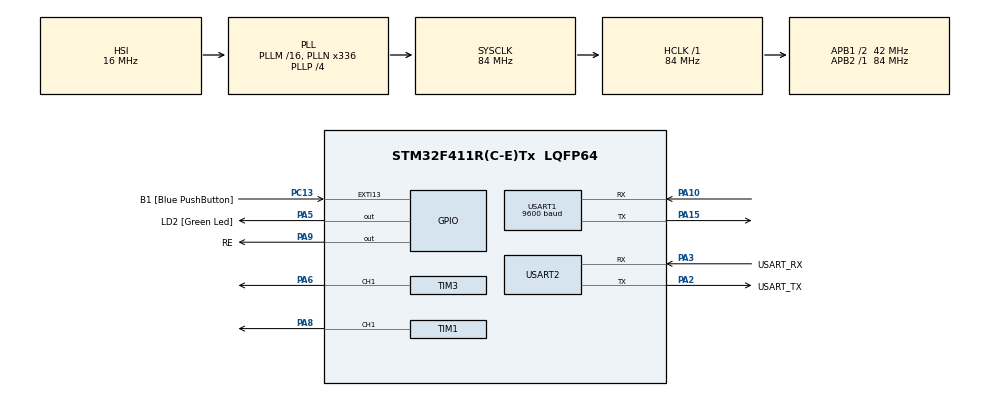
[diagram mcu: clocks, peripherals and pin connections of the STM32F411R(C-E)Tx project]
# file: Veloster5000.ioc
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Mcu.Family=STM32F4
Mcu.Name=STM32F411R(C-E)Tx
Mcu.Package=LQFP64
NVIC.EXTI15_10_IRQn=true\:1\:0\:true\:false\:true\:true\:true
NVIC.PriorityGroup=NVIC_PRIORITYGROUP_2
NVIC.TIM1_UP_TIM10_IRQn=true\:2\:0\:true\:false\:true\:true\:true
NVIC.TIM3_IRQn=true\:2\:0\:true\:false\:true\:true\:true
NVIC.USART1_IRQn=true\:1\:0\:true\:false\:true\:true\:true
PA10.Mode=Asynchronous
PA10.Signal=USART1_RX
PA13.GPIO_Label=TMS
PA13.Mode=Serial_Wire
PA13.Signal=SYS_JTMS-SWDIO
PA14.GPIO_Label=TCK
PA14.Mode=Serial_Wire
PA14.Signal=SYS_JTCK-SWCLK
PA15.Mode=Asynchronous
PA15.Signal=USART1_TX
PA2.GPIO_Label=USART_TX
PA2.Mode=Asynchronous
PA2.Signal=USART2_TX
PA3.GPIO_Label=USART_RX
PA3.Mode=Asynchronous
PA3.Signal=USART2_RX
PA5.GPIO_Label=LD2 [Green Led]
PA5.Signal=GPIO_Output
PA6.Signal=S_TIM3_CH1
PA8.Signal=S_TIM1_CH1
PA9.GPIO_Label=RE
PA9.Signal=GPIO_Output
PB3.GPIO_Label=SWO
PB3.Signal=SYS_JTDO-SWO
PC13-ANTI_TAMP.GPIO_Label=B1 [Blue PushButton]
PC13-ANTI_TAMP.GPIO_ModeDefaultEXTI=GPIO_MODE_IT_FALLING
PC13-ANTI_TAMP.Signal=GPXTI13
PC14-OSC32_IN.Mode=LSE-External-Oscillator
PC14-OSC32_IN.Signal=RCC_OSC32_IN
PC15-OSC32_OUT.Mode=LSE-External-Oscillator
PC15-OSC32_OUT.Signal=RCC_OSC32_OUT
PH0\ -\ OSC_IN.Mode=HSE-External-Clock-Source
PH0\ -\ OSC_IN.Signal=RCC_OSC_IN
PH1\ -\ OSC_OUT.Mode=HSE-External-Clock-Source
PH1\ -\ OSC_OUT.Signal=RCC_OSC_OUT
ProjectManager.HeapSize=0x200
ProjectManager.StackSize=0x400
ProjectManager.TargetToolchain=STM32CubeIDE
RCC.48MHZClocksFreq_Value=84000000
RCC.AHBFreq_Value=84000000
RCC.APB1CLKDivider=RCC_HCLK_DIV2
RCC.APB1Freq_Value=42000000
RCC.APB1TimFreq_Value=84000000
RCC.APB2Freq_Value=84000000
RCC.APB2TimFreq_Value=84000000
RCC.CortexFreq_Value=84000000
RCC.FLatency-AdvancedSettings=FLASH_LATENCY_2
RCC.HCLKFreq_Value=84000000
RCC.HSE_VALUE=8000000
RCC.HSI_VALUE=16000000
RCC.PLLN=336
RCC.PLLP=RCC_PLLP_DIV4
RCC.SYSCLKFreq_VALUE=84000000
RCC.SYSCLKSource=RCC_SYSCLKSOURCE_PLLCLK
RCC.VCOOutputFreq_Value=336000000
SH.S_TIM1_CH1.0=TIM1_CH1,PWM Generation1 CH1
SH.S_TIM3_CH1.0=TIM3_CH1,PWM Generation1 CH1
TIM1.Channel-PWM\ Generation1\ CH1=TIM_CHANNEL_1
TIM1.Period=99
TIM1.Prescaler=839
TIM3.Channel-PWM\ Generation1\ CH1=TIM_CHANNEL_1
TIM3.Period=1679
TIM3.Prescaler=999
USART1.BaudRate=9600
USART1.VirtualMode=VM_ASYNC
USART2.VirtualMode=VM_ASYNC
VP_TIM1_VS_ClockSourceINT.Mode=Internal
VP_TIM3_VS_ClockSourceINT.Mode=Internal
board=NUCLEO-F411RE

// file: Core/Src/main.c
/* USER CODE BEGIN Header */
/**
  ******************************************************************************
  * @file           : main.c
  * @brief          : Main program body
  ******************************************************************************
  * @attention
  *
  * <h2><center>&copy; Copyright (c) 2021 STMicroelectronics.
  * All rights reserved.</center></h2>
  *
  * This software component is licensed by ST under BSD 3-Clause license,
  * the "License"; You may not use this file except in compliance with the
  * License. You may obtain a copy of the License at:
  *                        opensource.org/licenses/BSD-3-Clause
  *
  ******************************************************************************
  */
/* USER CODE END Header */
#include "main.h"

TIM_HandleTypeDef htim1;
TIM_HandleTypeDef htim3;

UART_HandleTypeDef huart1;
UART_HandleTypeDef huart2;

void SystemClock_Config(void);
static void MX_GPIO_Init(void);
static void MX_USART2_UART_Init(void);
static void MX_TIM1_Init(void);
static void MX_USART1_UART_Init(void);
static void MX_TIM3_Init(void);

/* USER CODE BEGIN 0 */
	uint8_t directionGear[2] = {};
//	static int VELOCIDADE_DEFAULT = 50;
	int frente = 0, tras = 0;
	int velocidade = 100;
	int xesque = 0;
	int lock = 0;

	int ciclo1[3] = {84, 126, 168};
	int ciclo = 0;
	int i = 0;
/* USER CODE END 0 */

int main(void)
{

  /* MCU Configuration--------------------------------------------------------*/

  /* Reset of all peripherals, Initializes the Flash interface and the Systick. */
  HAL_Init();

  /* Configure the system clock */
  SystemClock_Config();

  /* Initialize all configured peripherals */
  MX_GPIO_Init();
  MX_USART2_UART_Init();
  MX_TIM1_Init();
  MX_USART1_UART_Init();
  MX_TIM3_Init();
  /* USER CODE BEGIN 2 */

  HAL_TIM_Base_Start_IT(&htim1);
  HAL_TIM_Base_Start_IT(&htim3);
  HAL_UART_Receive_IT(&huart1, directionGear, 2);

  /* USER CODE END 2 */

  /* Infinite loop */
  while (1){

    /* USER CODE BEGIN 3 */
//	  ciclo = 320;
	   if(lock == 1){

 		  HAL_TIM_PWM_Start_IT(&htim1, TIM_CHANNEL_1);
 		  HAL_GPIO_WritePin(RE_GPIO_Port, RE_Pin, 0);

 		  frente++;
 		  if(frente > velocidade){
 	  		  frente--;
 	  	  }

 	  }else if(lock == -1){
 		  frente = 0;

 	  }else if(lock == 0 && xesque == 1){
 		  HAL_Delay(800);
 		  xesque = 0;
 	  }

  }
  /* USER CODE END 3 */
}

void SystemClock_Config(void)
{
  RCC_OscInitTypeDef RCC_OscInitStruct = {0};
  RCC_ClkInitTypeDef RCC_ClkInitStruct = {0};

  /** Configure the main internal regulator output voltage
  */
  __HAL_RCC_PWR_CLK_ENABLE();
  __HAL_PWR_VOLTAGESCALING_CONFIG(PWR_REGULATOR_VOLTAGE_SCALE1);
  /** Initializes the RCC Oscillators according to the specified parameters
  * in the RCC_OscInitTypeDef structure.
  */
  RCC_OscInitStruct.OscillatorType = RCC_OSCILLATORTYPE_HSI;
  RCC_OscInitStruct.HSIState = RCC_HSI_ON;
  RCC_OscInitStruct.HSICalibrationValue = RCC_HSICALIBRATION_DEFAULT;
  RCC_OscInitStruct.PLL.PLLState = RCC_PLL_ON;
  RCC_OscInitStruct.PLL.PLLSource = RCC_PLLSOURCE_HSI;
  RCC_OscInitStruct.PLL.PLLM = 16;
  RCC_OscInitStruct.PLL.PLLN = 336;
  RCC_OscInitStruct.PLL.PLLP = RCC_PLLP_DIV4;
  RCC_OscInitStruct.PLL.PLLQ = 4;
  if (HAL_RCC_OscConfig(&RCC_OscInitStruct) != HAL_OK)
  {
    Error_Handler();
  }
  /** Initializes the CPU, AHB and APB buses clocks
  */
  RCC_ClkInitStruct.ClockType = RCC_CLOCKTYPE_HCLK|RCC_CLOCKTYPE_SYSCLK
                              |RCC_CLOCKTYPE_PCLK1|RCC_CLOCKTYPE_PCLK2;
  RCC_ClkInitStruct.SYSCLKSource = RCC_SYSCLKSOURCE_PLLCLK;
  RCC_ClkInitStruct.AHBCLKDivider = RCC_SYSCLK_DIV1;
  RCC_ClkInitStruct.APB1CLKDivider = RCC_HCLK_DIV2;
  RCC_ClkInitStruct.APB2CLKDivider = RCC_HCLK_DIV1;

  if (HAL_RCC_ClockConfig(&RCC_ClkInitStruct, FLASH_LATENCY_2) != HAL_OK)
  {
    Error_Handler();
  }
}

static void MX_TIM1_Init(void)
{

  TIM_ClockConfigTypeDef sClockSourceConfig = {0};
  TIM_MasterConfigTypeDef sMasterConfig = {0};
  TIM_OC_InitTypeDef sConfigOC = {0};
  TIM_BreakDeadTimeConfigTypeDef sBreakDeadTimeConfig = {0};

  htim1.Instance = TIM1;
  htim1.Init.Prescaler = 839;
  htim1.Init.CounterMode = TIM_COUNTERMODE_UP;
  htim1.Init.Period = 99;
  htim1.Init.ClockDivision = TIM_CLOCKDIVISION_DIV1;
  htim1.Init.RepetitionCounter = 0;
  htim1.Init.AutoReloadPreload = TIM_AUTORELOAD_PRELOAD_DISABLE;
  if (HAL_TIM_Base_Init(&htim1) != HAL_OK)
  {
    Error_Handler();
  }
  sClockSourceConfig.ClockSource = TIM_CLOCKSOURCE_INTERNAL;
  if (HAL_TIM_ConfigClockSource(&htim1, &sClockSourceConfig) != HAL_OK)
  {
    Error_Handler();
  }
  if (HAL_TIM_PWM_Init(&htim1) != HAL_OK)
  {
    Error_Handler();
  }
  sMasterConfig.MasterOutputTrigger = TIM_TRGO_RESET;
  sMasterConfig.MasterSlaveMode = TIM_MASTERSLAVEMODE_DISABLE;
  if (HAL_TIMEx_MasterConfigSynchronization(&htim1, &sMasterConfig) != HAL_OK)
  {
    Error_Handler();
  }
  sConfigOC.OCMode = TIM_OCMODE_PWM1;
  sConfigOC.Pulse = 0;
  sConfigOC.OCPolarity = TIM_OCPOLARITY_HIGH;
  sConfigOC.OCNPolarity = TIM_OCNPOLARITY_HIGH;
  sConfigOC.OCFastMode = TIM_OCFAST_DISABLE;
  sConfigOC.OCIdleState = TIM_OCIDLESTATE_RESET;
  sConfigOC.OCNIdleState = TIM_OCNIDLESTATE_RESET;
  if (HAL_TIM_PWM_ConfigChannel(&htim1, &sConfigOC, TIM_CHANNEL_1) != HAL_OK)
  {
    Error_Handler();
  }
  sBreakDeadTimeConfig.OffStateRunMode = TIM_OSSR_DISABLE;
  sBreakDeadTimeConfig.OffStateIDLEMode = TIM_OSSI_DISABLE;
  sBreakDeadTimeConfig.LockLevel = TIM_LOCKLEVEL_OFF;
  sBreakDeadTimeConfig.DeadTime = 0;
  sBreakDeadTimeConfig.BreakState = TIM_BREAK_DISABLE;
  sBreakDeadTimeConfig.BreakPolarity = TIM_BREAKPOLARITY_HIGH;
  sBreakDeadTimeConfig.AutomaticOutput = TIM_AUTOMATICOUTPUT_DISABLE;
  if (HAL_TIMEx_ConfigBreakDeadTime(&htim1, &sBreakDeadTimeConfig) != HAL_OK)
  {
    Error_Handler();
  }
  HAL_TIM_MspPostInit(&htim1);

}

static void MX_TIM3_Init(void)
{

  TIM_ClockConfigTypeDef sClockSourceConfig = {0};
  TIM_MasterConfigTypeDef sMasterConfig = {0};
  TIM_OC_InitTypeDef sConfigOC = {0};

  htim3.Instance = TIM3;
  htim3.Init.Prescaler = 999;
  htim3.Init.CounterMode = TIM_COUNTERMODE_UP;
  htim3.Init.Period = 1679;
  htim3.Init.ClockDivision = TIM_CLOCKDIVISION_DIV1;
  htim3.Init.AutoReloadPreload = TIM_AUTORELOAD_PRELOAD_DISABLE;
  if (HAL_TIM_Base_Init(&htim3) != HAL_OK)
  {
    Error_Handler();
  }
  sClockSourceConfig.ClockSource = TIM_CLOCKSOURCE_INTERNAL;
  if (HAL_TIM_ConfigClockSource(&htim3, &sClockSourceConfig) != HAL_OK)
  {
    Error_Handler();
  }
  if (HAL_TIM_PWM_Init(&htim3) != HAL_OK)
  {
    Error_Handler();
  }
  sMasterConfig.MasterOutputTrigger = TIM_TRGO_RESET;
  sMasterConfig.MasterSlaveMode = TIM_MASTERSLAVEMODE_DISABLE;
  if (HAL_TIMEx_MasterConfigSynchronization(&htim3, &sMasterConfig) != HAL_OK)
  {
    Error_Handler();
  }
  sConfigOC.OCMode = TIM_OCMODE_PWM1;
  sConfigOC.Pulse = 0;
  sConfigOC.OCPolarity = TIM_OCPOLARITY_HIGH;
  sConfigOC.OCFastMode = TIM_OCFAST_DISABLE;
  if (HAL_TIM_PWM_ConfigChannel(&htim3, &sConfigOC, TIM_CHANNEL_1) != HAL_OK)
  {
    Error_Handler();
  }
  HAL_TIM_MspPostInit(&htim3);

}

static void MX_USART1_UART_Init(void)
{

  huart1.Instance = USART1;
  huart1.Init.BaudRate = 9600;
  huart1.Init.WordLength = UART_WORDLENGTH_8B;
  huart1.Init.StopBits = UART_STOPBITS_1;
  huart1.Init.Parity = UART_PARITY_NONE;
  huart1.Init.Mode = UART_MODE_TX_RX;
  huart1.Init.HwFlowCtl = UART_HWCONTROL_NONE;
  huart1.Init.OverSampling = UART_OVERSAMPLING_16;
  if (HAL_UART_Init(&huart1) != HAL_OK)
  {
    Error_Handler();
  }

}

static void MX_USART2_UART_Init(void)
{

  huart2.Instance = USART2;
  huart2.Init.BaudRate = 115200;
  huart2.Init.WordLength = UART_WORDLENGTH_8B;
  huart2.Init.StopBits = UART_STOPBITS_1;
  huart2.Init.Parity = UART_PARITY_NONE;
  huart2.Init.Mode = UART_MODE_TX_RX;
  huart2.Init.HwFlowCtl = UART_HWCONTROL_NONE;
  huart2.Init.OverSampling = UART_OVERSAMPLING_16;
  if (HAL_UART_Init(&huart2) != HAL_OK)
  {
    Error_Handler();
  }

}

static void MX_GPIO_Init(void)
{
  GPIO_InitTypeDef GPIO_InitStruct = {0};

  /* GPIO Ports Clock Enable */
  __HAL_RCC_GPIOC_CLK_ENABLE();
  __HAL_RCC_GPIOH_CLK_ENABLE();
  __HAL_RCC_GPIOA_CLK_ENABLE();
  __HAL_RCC_GPIOB_CLK_ENABLE();

  /*Configure GPIO pin Output Level */
  HAL_GPIO_WritePin(GPIOA, LD2_Pin|RE_Pin, GPIO_PIN_RESET);

  /*Configure GPIO pin : B1_Pin */
  GPIO_InitStruct.Pin = B1_Pin;
  GPIO_InitStruct.Mode = GPIO_MODE_IT_FALLING;
  GPIO_InitStruct.Pull = GPIO_NOPULL;
  HAL_GPIO_Init(B1_GPIO_Port, &GPIO_InitStruct);

  /*Configure GPIO pins : LD2_Pin RE_Pin */
  GPIO_InitStruct.Pin = LD2_Pin|RE_Pin;
  GPIO_InitStruct.Mode = GPIO_MODE_OUTPUT_PP;
  GPIO_InitStruct.Pull = GPIO_NOPULL;
  GPIO_InitStruct.Speed = GPIO_SPEED_FREQ_LOW;
  HAL_GPIO_Init(GPIOA, &GPIO_InitStruct);

  /* EXTI interrupt init*/
  HAL_NVIC_SetPriority(EXTI15_10_IRQn, 1, 0);
  HAL_NVIC_EnableIRQ(EXTI15_10_IRQn);

}

/* USER CODE BEGIN 4 */

void HAL_UART_RxCpltCallback(UART_HandleTypeDef *huart1){//Interrupção de recepção de comunicação serial

	xesque = 1;

	if(directionGear[0] == 'F'){
		HAL_GPIO_WritePin(LD2_GPIO_Port, LD2_Pin, 1);
		HAL_GPIO_WritePin(RE_GPIO_Port, RE_Pin, 0);
		lock = 1;

	}else if(directionGear[0] == 'f'){
		HAL_GPIO_WritePin(LD2_GPIO_Port, LD2_Pin, 0);
		HAL_GPIO_WritePin(RE_GPIO_Port, RE_Pin, 0);
		frente = 0;
		lock = 0;
	}

	if(directionGear[0] == 'B'){
		HAL_GPIO_WritePin(LD2_GPIO_Port, LD2_Pin, 1);
		HAL_GPIO_WritePin(RE_GPIO_Port, RE_Pin, 1);
		lock = -1;

	}else if(directionGear[0] == 'b'){
		HAL_GPIO_WritePin(LD2_GPIO_Port, LD2_Pin, 0);
		HAL_GPIO_WritePin(RE_GPIO_Port, RE_Pin, 0);
		lock = 0;
	}

	if(directionGear[0] == 'R'){
		HAL_TIM_PWM_Start_IT(&htim3, TIM_CHANNEL_1);
		HAL_GPIO_WritePin(LD2_GPIO_Port, LD2_Pin, 1);
		ciclo = 170;
		lock = 10;

	}else if(directionGear[0] == 'r'){
		HAL_GPIO_WritePin(LD2_GPIO_Port, LD2_Pin, 0);
		ciclo = 140;
		lock = 0;
	}

	if(directionGear[0] == 'L'){
		HAL_TIM_PWM_Start_IT(&htim3, TIM_CHANNEL_1);
		HAL_GPIO_WritePin(LD2_GPIO_Port, LD2_Pin, 1);
		ciclo = 100;
		lock = 10;

	}else if(directionGear[0] == 'l'){
		HAL_GPIO_WritePin(LD2_GPIO_Port, LD2_Pin, 0);
		ciclo = 140;
		lock = 0;
	}

	  HAL_UART_Receive_IT(huart1, directionGear, 1);
}

void HAL_TIM_PWM_PulseFinishedCallback(TIM_HandleTypeDef *htim){//PWM para o motor

	if(htim ->Instance == TIM1 ){
		TIM1 -> CCR1 = frente;
		//	TIM1 -> CCR2 = tras;

	}

	else if(htim ->Instance == TIM3 ){
		TIM3 -> CCR1 = ciclo;
	}

	if(ciclo == 126){
		HAL_TIM_PWM_Stop_IT(&htim3, TIM_CHANNEL_1);
	}

}

void HAL_GPIO_EXTI_Callback(uint16_t GPIO_Pin){//Interrupção de botão

	if(GPIO_Pin == B1_Pin){
		lock = 10;
		i++;

		if(i>3){
			i=0;
		}
	}
}

/* USER CODE END 4 */

void Error_Handler(void)
{
  __disable_irq();
  while (1)
  {
  }
}
